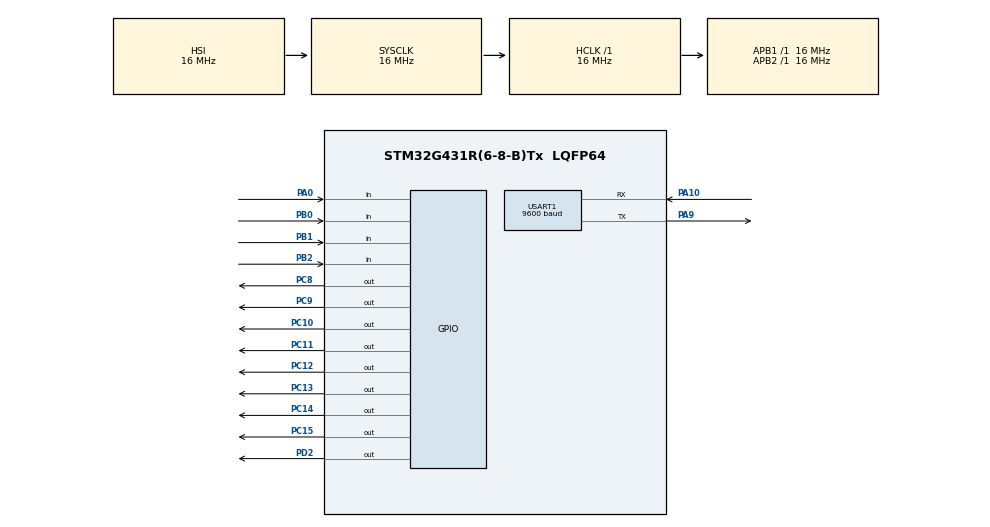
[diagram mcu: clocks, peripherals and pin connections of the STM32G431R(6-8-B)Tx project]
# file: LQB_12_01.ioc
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Mcu.Family=STM32G4
Mcu.Name=STM32G431R(6-8-B)Tx
Mcu.Package=LQFP64
NVIC.PriorityGroup=NVIC_PRIORITYGROUP_4
NVIC.USART1_IRQn=true\:1\:0\:true\:false\:true\:true\:true
PA0.Signal=GPIO_Input
PA10.Mode=Asynchronous
PA10.Signal=USART1_RX
PA7.Signal=S_TIM17_CH1
PA9.Mode=Asynchronous
PA9.Signal=USART1_TX
PB0.Signal=GPIO_Input
PB1.Signal=GPIO_Input
PB2.Signal=GPIO_Input
PC10.Signal=GPIO_Output
PC11.Signal=GPIO_Output
PC12.Signal=GPIO_Output
PC13.Signal=GPIO_Output
PC14-OSC32_IN.Signal=GPIO_Output
PC15-OSC32_OUT.Signal=GPIO_Output
PC8.Signal=GPIO_Output
PC9.Signal=GPIO_Output
PD2.Signal=GPIO_Output
ProjectManager.HeapSize=0x200
ProjectManager.StackSize=0x400
ProjectManager.TargetToolchain=MDK-ARM V5.32
RCC.AHBFreq_Value=16000000
RCC.APB1Freq_Value=16000000
RCC.APB1TimFreq_Value=16000000
RCC.APB2Freq_Value=16000000
RCC.APB2TimFreq_Value=16000000
RCC.CortexFreq_Value=16000000
RCC.EXTERNAL_CLOCK_VALUE=12288000
RCC.HCLKFreq_Value=16000000
RCC.HSE_VALUE=8000000
RCC.HSI48_VALUE=48000000
RCC.HSI_VALUE=16000000
RCC.LSE_VALUE=32768
RCC.SYSCLKFreq_VALUE=16000000
RCC.USBFreq_Value=64000000
RCC.VCOOutputFreq_Value=128000000
SH.S_TIM17_CH1.0=TIM17_CH1
TIM17.Channel=TIM_CHANNEL_1
TIM17.PeriodNoDither=500
TIM17.Prescaler=79
TIM17.PulseNoDither_1=100
USART1.BaudRate=9600
USART1.VirtualMode-Asynchronous=VM_ASYNC
VP_SYS_VS_DBSignals.Mode=DisableDeadBatterySignals
VP_TIM17_VS_ClockSourceINT.Mode=Enable_Timer
VP_TIM17_VS_no_output1.Mode=PWM Generation1 No Output
board=custom

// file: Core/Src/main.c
/* USER CODE BEGIN Header */
/**
  ******************************************************************************
  * @file           : main.c
  * @brief          : Main program body
  ******************************************************************************
  * @attention
  *
  * Copyright (c) 2022 STMicroelectronics.
  * All rights reserved.
  *
  * This software is licensed under terms that can be found in the LICENSE file
  * in the root directory of this software component.
  * If no LICENSE file comes with this software, it is provided AS-IS.
  *
  ******************************************************************************
  */
/* USER CODE END Header */
#include "main.h"
#include "tim.h"
#include "usart.h"
#include "gpio.h"

/* USER CODE BEGIN Includes */
#include "lcd.h"
#include "stdio.h"
#include "string.h"

/* USER CODE END Includes */

/* USER CODE BEGIN PV */
__IO uint32_t uwTick_Lcd_Set_Point;
__IO uint32_t uwTick_Key_Set_Point;
__IO uint32_t uwTick_Led_Set_Point;
__IO uint32_t uwTick_Usart_Set_Point;

unsigned char ucState, ucState_1;
unsigned char pucStr[21];
unsigned char ucKey_Val, ucKey_Down, ucKey_Old;
unsigned char ucNum_CNBR, ucNum_VNBR, ucNum_IDLE = 8;
double Ratio_CNBR = 3.50, Ratio_VNBR = 2.00;
unsigned char ucLed;
uint8_t RX_BUF[200];
uint8_t Rx_Counter;
char str_str[40];
uint8_t Rx_Counter;
uint8_t rx_buffer;
uint8_t year_temp, month_temp, day_temp, hour_temp, min_temp, sec_temp;
uint8_t car_id[5];
uint8_t car_type[5];
unsigned char i_1, i_2;

typedef struct
{
	uint8_t type[5];
	uint8_t id[5];
	uint8_t year_in;
	uint8_t month_in;
	uint8_t day_in;
	uint8_t hour_in;
	uint8_t min_in;
	uint8_t sec_in;
	_Bool notEmpty;
} Car_Data_Storage_Type;

Car_Data_Storage_Type Car_Data_Storage[8];

/* USER CODE END PV */

void SystemClock_Config(void);
/* USER CODE BEGIN PFP */
void Lcd_Proc(void);
void Key_Proc(void);
void Led_Proc(void);
_Bool CheckCmd(uint8_t *str);
void substr(uint8_t *d_str, uint8_t *s_str, uint8_t locate, uint8_t length);
uint8_t isExist(uint8_t *str);
uint8_t FindLocate(void);
void Usart_Proc(void);
/* USER CODE END PFP */

int main(void)
{

  /* MCU Configuration--------------------------------------------------------*/

  /* Reset of all peripherals, Initializes the Flash interface and the Systick. */
  HAL_Init();

  /* Configure the system clock */
  SystemClock_Config();

  /* Initialize all configured peripherals */
  MX_GPIO_Init();
  MX_TIM17_Init();
  MX_USART1_UART_Init();
  /* USER CODE BEGIN 2 */
	LCD_Init();
	LCD_Clear(Black);
	LCD_SetBackColor(Black);
	LCD_SetTextColor(White);

	__HAL_TIM_SET_COMPARE(&htim17, TIM_CHANNEL_1, 0);
	HAL_TIM_PWM_Start(&htim17, TIM_CHANNEL_1);

	HAL_UART_Receive_IT(&huart1, (uint8_t *)(&rx_buffer), 1);
  /* USER CODE END 2 */

  /* Infinite loop */
  while (1)
  {

    /* USER CODE BEGIN 3 */
		Lcd_Proc();
		Key_Proc();
		Led_Proc();
		Usart_Proc();
  }
  /* USER CODE END 3 */
}

void SystemClock_Config(void)
{
  RCC_OscInitTypeDef RCC_OscInitStruct = {0};
  RCC_ClkInitTypeDef RCC_ClkInitStruct = {0};

  /** Configure the main internal regulator output voltage
  */
  HAL_PWREx_ControlVoltageScaling(PWR_REGULATOR_VOLTAGE_SCALE1);
  /** Initializes the RCC Oscillators according to the specified parameters
  * in the RCC_OscInitTypeDef structure.
  */
  RCC_OscInitStruct.OscillatorType = RCC_OSCILLATORTYPE_HSI;
  RCC_OscInitStruct.HSIState = RCC_HSI_ON;
  RCC_OscInitStruct.HSICalibrationValue = RCC_HSICALIBRATION_DEFAULT;
  RCC_OscInitStruct.PLL.PLLState = RCC_PLL_NONE;
  if (HAL_RCC_OscConfig(&RCC_OscInitStruct) != HAL_OK)
  {
    Error_Handler();
  }
  /** Initializes the CPU, AHB and APB buses clocks
  */
  RCC_ClkInitStruct.ClockType = RCC_CLOCKTYPE_HCLK|RCC_CLOCKTYPE_SYSCLK
                              |RCC_CLOCKTYPE_PCLK1|RCC_CLOCKTYPE_PCLK2;
  RCC_ClkInitStruct.SYSCLKSource = RCC_SYSCLKSOURCE_HSI;
  RCC_ClkInitStruct.AHBCLKDivider = RCC_SYSCLK_DIV1;
  RCC_ClkInitStruct.APB1CLKDivider = RCC_HCLK_DIV1;
  RCC_ClkInitStruct.APB2CLKDivider = RCC_HCLK_DIV1;

  if (HAL_RCC_ClockConfig(&RCC_ClkInitStruct, FLASH_LATENCY_0) != HAL_OK)
  {
    Error_Handler();
  }
}

/* USER CODE BEGIN 4 */
void Lcd_Proc(void)
{
	if(uwTick - uwTick_Lcd_Set_Point <= 100)
		return;

	uwTick_Lcd_Set_Point = uwTick;

	if(!ucState)
	{
		LCD_DisplayStringLine(Line1, (u8*)"       Data         ");
		sprintf((char*)pucStr, "   CNBR:%1u          ", ucNum_CNBR);
		LCD_DisplayStringLine(Line3, (u8*)pucStr);
		sprintf((char*)pucStr, "   VNBR:%1u          ", ucNum_VNBR);
		LCD_DisplayStringLine(Line5, (u8*)pucStr);
		sprintf((char*)pucStr, "   IDLE:%1u          ", ucNum_IDLE);
		LCD_DisplayStringLine(Line7, (u8*)pucStr);
	}
	else
	{
		LCD_DisplayStringLine(Line1, (u8*)"       Para         ");
		sprintf((char*)pucStr, "   CNBR:%3.2lf        ", Ratio_CNBR);
		LCD_DisplayStringLine(Line3, (u8*)pucStr);
		sprintf((char*)pucStr, "   VNBR:%3.2lf        ", Ratio_VNBR);
		LCD_DisplayStringLine(Line5, (u8*)pucStr);
		sprintf((char*)pucStr, "                    ");
		LCD_DisplayStringLine(Line7, (u8*)pucStr);
	}
}

void Key_Proc(void)
{
	if(uwTick - uwTick_Key_Set_Point <= 100)
		return;

	uwTick_Key_Set_Point = uwTick;

	ucKey_Val = Key_Scan();
	ucKey_Down = ucKey_Val & (ucKey_Val ^ ucKey_Old);
	ucKey_Old = ucKey_Val;

	switch(ucKey_Down)
	{
		case 1:
			if(!ucState)
			{
				ucState = 1;
			}
			else
			{
				ucState = 0;
			}
		break;

		case 2:
			if(ucState)
			{
				Ratio_CNBR += 0.5;
				Ratio_VNBR += 0.5;
			}
		break;

		case 3:
			if(ucState)
			{
				Ratio_CNBR -= 0.5;
				if(Ratio_CNBR < 0)
					Ratio_CNBR = 0;
				Ratio_VNBR -= 0.5;
				if(Ratio_VNBR < 0)
					Ratio_VNBR = 0;
			}
		break;

		case 4:
			if(!ucState_1)
			{
				ucState_1 = 1;
				__HAL_TIM_SET_COMPARE(&htim17, TIM_CHANNEL_1, 0);
			}
			else
			{
				ucState_1 = 0;
				__HAL_TIM_SET_COMPARE(&htim17, TIM_CHANNEL_1, 100);
			}
		break;
	}
}

void Led_Proc(void)
{
	if(uwTick - uwTick_Led_Set_Point <= 100)
		return;

	uwTick_Led_Set_Point = uwTick;

	if(!ucState_1)
		ucLed &= ~0x02;
	else
		ucLed |= 0x02;

	Led_Disp(ucLed);
}

_Bool CheckCmd(uint8_t *str)
{
	if(Rx_Counter != 22)
		return 0;
	if((str[0] == 'C' || str[0] == 'V') && (str[1] == 'N') && (str[2] == 'B') && (str[3] == 'R') && (str[4] == ':') && (str[9] == ':'))
	{
		for(int i = 10; i < 22; i++)
		{
			if(str[i] > '9' || str[i] < '0')
				return 0;
		}
	}

	return 1;
}

void substr(uint8_t *d_str, uint8_t *s_str, uint8_t locate, uint8_t length)
{
	for(int i = 0; i < length; i++)
	{
		d_str[i] = s_str[locate + i];
	}
	d_str[length] = '\0';
}

uint8_t isExist(uint8_t *str)
{
	for(uint8_t i = 0; i < 8; i++)
	{
		if((strcmp((const char*)str, (const char*)Car_Data_Storage[i].id)) == 0)
		{
			return i;
		}
	}
	return 0xFF;
}

uint8_t FindLocate(void)
{
	for(uint8_t i = 0; i < 8; i++)
	{
		if(Car_Data_Storage[i].notEmpty == 0)
			return i;
	}
	return 0xFF;
}

void Usart_Proc(void)
{
	if(uwTick - uwTick_Usart_Set_Point <= 100)
		return;

	uwTick_Usart_Set_Point = uwTick;

	if(CheckCmd(RX_BUF))
	{
		year_temp = (RX_BUF[10] - '0') * 10 + (RX_BUF[11] - '0');
		month_temp = (RX_BUF[12] - '0') * 10 + (RX_BUF[13] - '0');
		day_temp = (RX_BUF[14] - '0') * 10 + (RX_BUF[15] - '0');
		hour_temp = (RX_BUF[16] - '0') * 10 + (RX_BUF[17] - '0');
		min_temp = (RX_BUF[18] - '0') * 10 + (RX_BUF[19] - '0');
		sec_temp = (RX_BUF[20] - '0') * 10 + (RX_BUF[21] - '0');

		if((month_temp > 12) || (day_temp> 31) || (hour_temp > 23) || (min_temp > 59) || (sec_temp > 59))
		{
			i_1 = 1;
			goto SEND_ERROR;
		}

		substr(car_id, RX_BUF, 5, 4);
		substr(car_type, RX_BUF, 0, 4);

		if(isExist(car_id) == 0xFF)
		{
			uint8_t locate = FindLocate();

			if(locate == 0xFF)
			{
				i_1 = 2;
				goto SEND_ERROR;
			}
			substr(Car_Data_Storage[locate].type, car_type, 0, 4);
			substr(Car_Data_Storage[locate].id, car_id, 0, 4);
			Car_Data_Storage[locate].year_in = year_temp;
			Car_Data_Storage[locate].month_in = month_temp;
			Car_Data_Storage[locate].day_in = day_temp;
			Car_Data_Storage[locate].hour_in = hour_temp;
			Car_Data_Storage[locate].min_in = min_temp;
			Car_Data_Storage[locate].sec_in = sec_temp;
			Car_Data_Storage[locate].notEmpty = 1;

			if(Car_Data_Storage[locate].type[0] == 'C')
				ucNum_CNBR++;
			else if(Car_Data_Storage[locate].type[0] == 'V')
				ucNum_VNBR++;

			ucNum_IDLE--;
		}
		else
		{
			int64_t Second_derta;
			uint8_t in_locate = isExist(car_id);

			if(strcmp((const char*)car_type, (const char*)Car_Data_Storage[in_locate].type) != 0)
			{
				i_1 = 3;
				goto SEND_ERROR;
			}
			Second_derta = (year_temp - Car_Data_Storage[in_locate].year_in) * 365 * 24 * 60 * 60 +\
										 (month_temp - Car_Data_Storage[in_locate].month_in) * 30 * 24 * 60 * 60 +\
										 (day_temp - Car_Data_Storage[in_locate].day_in) * 24 * 60 * 60 +\
										 (hour_temp - Car_Data_Storage[in_locate].hour_in) * 60 * 60 +\
										 (min_temp - Car_Data_Storage[in_locate].min_in) * 60 +\
										 (sec_temp - Car_Data_Storage[in_locate].sec_in);
			if(Second_derta < 0)
			{
				i_1 = 4;
				goto SEND_ERROR;
			}
			Second_derta = (Second_derta + 3599) / 3600;
			sprintf((char*)str_str, "%s:%s:%d:%.2lf\r\n", Car_Data_Storage[in_locate].type, Car_Data_Storage[in_locate].id, (unsigned int)Second_derta, ((double)Second_derta * (Car_Data_Storage[in_locate].type[0] == 'C' ? Ratio_CNBR : Ratio_VNBR)));
			HAL_UART_Transmit(&huart1,(unsigned char *)str_str, strlen((char*)str_str), 50);
			if(Car_Data_Storage[in_locate].type[0] == 'C')
				ucNum_CNBR--;
			else if(Car_Data_Storage[in_locate].type[0] == 'V')
				ucNum_VNBR--;

			ucNum_IDLE++;

			memset(&Car_Data_Storage[in_locate],0,sizeof(Car_Data_Storage[in_locate]));
		}
		goto CMD_YES;

		SEND_ERROR:
		sprintf(str_str, "Error:%1u\r\n", i_1);
			HAL_UART_Transmit(&huart1,(unsigned char *)str_str, strlen(str_str), 50);
		CMD_YES:
			memset(&RX_BUF[0], 0, sizeof(RX_BUF));
			Rx_Counter = 0;
	}
}

void HAL_UART_RxCpltCallback(UART_HandleTypeDef *huart)
{
	RX_BUF[Rx_Counter] = rx_buffer;
	Rx_Counter++;
	HAL_UART_Receive_IT(&huart1, (uint8_t *)(&rx_buffer), 1);
}
/* USER CODE END 4 */

void Error_Handler(void)
{
  __disable_irq();
  while (1)
  {
  }
}
